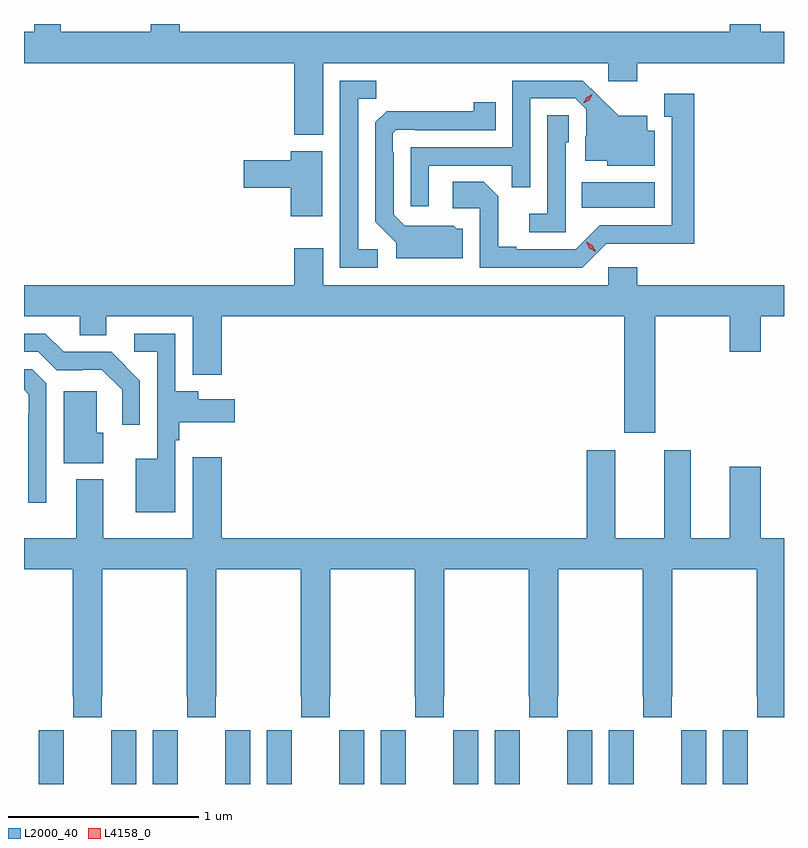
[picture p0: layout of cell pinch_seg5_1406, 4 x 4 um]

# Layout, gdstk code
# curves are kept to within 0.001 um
import gdstk
lib = gdstk.Library(unit=1e-6, precision=1e-09)
def R(c, l, rs):  # rectangles x0, y0, x1, y1
    for r in rs: c.add(gdstk.rectangle(r[:2], r[2:], *l))
def P(c, l, *ps):  # polygons
    for p in ps: c.add(gdstk.Polygon(p, *l))
L2000_40 = (2000, 40)
L4158_0 = (4158, 0)

pinch_seg5_1406 = lib.new_cell('pinch_seg5_1406')
R(pinch_seg5_1406, L2000_40, [(140.254,878.642,140.638,878.776)])
P(pinch_seg5_1406, L2000_40, [(138.892,879.404),(140.394,879.404),(140.394,879.309),(140.546,879.309),(140.546,879.404),(141.318,879.404),(141.318,879.568),(141.196,879.568),(141.196,879.61),(141.032,879.61),(141.032,879.568),(138.137,879.568),(138.137,879.61),(137.984,879.61),(137.984,879.568),(137.512,879.568),(137.512,879.61),(137.372,879.61),(137.372,879.568),(137.318,879.568),(137.318,879.404),(138.74,879.404),(138.74,879.026),(138.892,879.026)],
  [(139.18,878.424),(139.077,878.424),(139.077,879.217),(139.173,879.217),(139.173,879.312),(138.981,879.312),(138.981,878.328),(139.18,878.328)],
  [(139.449,878.865),(139.885,878.865),(139.885,878.752),(139.983,878.752),(139.983,879.219),(140.22,879.219),(140.277,879.162),(140.277,879.02),(140.273,879.02),(140.273,878.891),(140.388,878.891),(140.388,878.864),(140.638,878.864),(140.638,879.049),(140.599,879.049),(140.599,879.127),(140.447,879.127),(140.26,879.312),(139.887,879.312),(139.887,878.961),(139.353,878.961),(139.353,878.652),(139.449,878.652)],
  [(140.382,878.454),(140.845,878.453),(140.845,879.244),(140.687,879.244),(140.687,879.123),(140.726,879.123),(140.726,878.55),(140.349,878.55),(140.223,878.424),(139.909,878.424),(139.909,878.437),(139.815,878.437),(139.815,878.704),(139.739,878.78),(139.575,878.78),(139.575,878.64),(139.716,878.64),(139.716,878.328),(140.256,878.328)],
  [(139.627,878.532),(139.596,878.532),(139.58,878.548),(139.323,878.547),(139.263,878.607),(139.263,878.936),(139.26,878.936),(139.26,879.036),(139.278,879.054),(139.378,879.054),(139.378,879.051),(139.802,879.051),(139.802,879.199),(139.684,879.199),(139.684,879.152),(139.226,879.151),(139.167,879.092),(139.167,878.57),(139.277,878.46),(139.277,878.378),(139.627,878.378)],
  [(140.169,878.988),(140.184,878.988),(140.184,879.131),(140.073,879.131),(140.073,878.611),(139.977,878.611),(139.977,878.514),(140.169,878.514)],
  [(138.889,878.941),(138.722,878.941),(138.722,878.894),(138.474,878.894),(138.474,878.747),(138.722,878.747),(138.722,878.598),(138.889,878.598)],
  [(140.641,878.072),(141.032,878.072),(141.032,877.884),(141.196,877.884),(141.196,878.072),(141.318,878.072),(141.318,878.236),(140.546,878.236),(140.546,878.329),(140.394,878.329),(140.394,878.236),(138.892,878.236),(138.892,878.431),(138.74,878.431),(138.74,878.236),(137.318,878.236),(137.318,878.072),(137.612,878.072),(137.612,877.973),(137.752,877.973),(137.752,878.072),(138.206,878.072),(138.206,877.763),(138.359,877.763),(138.359,878.072),(140.477,878.072),(140.477,877.458),(140.641,877.458)],
  [(137.928,877.732),(137.778,877.884),(137.527,877.884),(137.431,877.98),(137.318,877.98),(137.318,877.884),(137.394,877.884),(137.49,877.788),(137.626,877.788),(137.626,877.79),(137.728,877.79),(137.834,877.685),(137.834,877.5),(137.928,877.5)],
  [(138.114,877.418),(138.134,877.418),(138.134,877.514),(138.427,877.514),(138.427,877.636),(138.235,877.636),(138.235,877.678),(138.114,877.678),(138.114,877.98),(137.898,877.98),(137.898,877.884),(138.018,877.884),(138.018,877.321),(137.906,877.321),(137.906,877.04),(138.114,877.04)],
  [(137.436,877.719),(137.361,877.794),(137.318,877.794),(137.318,877.685),(137.343,877.659),(137.343,877.559),(137.34,877.559),(137.34,877.089),(137.436,877.089)],
  [(137.734,877.459),(137.701,877.459),(137.701,877.677),(137.528,877.677),(137.528,877.298),(137.734,877.298)],
  [(137.318,876.74),(137.575,876.74),(137.575,876.073),(137.577,876.073),(137.577,875.961),(137.727,875.961),(137.727,876.073),(137.73,876.073),(137.73,876.74),(138.175,876.74),(138.175,876.073),(138.177,876.073),(138.177,875.961),(138.327,875.961),(138.327,876.073),(138.33,876.073),(138.33,876.74),(138.775,876.74),(138.775,876.073),(138.777,876.073),(138.777,875.961),(138.927,875.961),(138.927,876.073),(138.93,876.073),(138.93,876.74),(139.375,876.74),(139.375,876.073),(139.377,876.073),(139.377,875.961),(139.527,875.961),(139.527,876.073),(139.53,876.073),(139.53,876.74),(139.975,876.74),(139.975,876.073),(139.977,876.073),(139.977,875.961),(140.127,875.961),(140.127,876.073),(140.13,876.073),(140.13,876.74),(140.575,876.74),(140.575,876.073),(140.577,876.073),(140.577,875.961),(140.727,875.961),(140.727,876.073),(140.73,876.073),(140.73,876.74),(141.175,876.74),(141.175,876.073),(141.177,876.073),(141.177,875.961),(141.318,875.961),(141.318,876.904),(141.196,876.904),(141.196,877.279),(141.032,877.279),(141.032,876.904),(140.827,876.904),(140.827,877.366),(140.687,877.366),(140.687,876.904),(140.431,876.904),(140.431,877.366),(140.279,877.366),(140.279,876.904),(138.359,876.904),(138.359,877.33),(138.206,877.33),(138.206,876.904),(137.734,876.904),(137.734,877.213),(137.594,877.213),(137.594,876.904),(137.318,876.904)],
  [(139.927,875.78),(139.926,875.78),(139.926,875.893),(139.796,875.893),(139.796,875.61),(139.927,875.61)],
  [(141.127,875.78),(141.126,875.78),(141.126,875.893),(140.996,875.893),(140.996,875.61),(141.127,875.61)],
  [(138.508,875.893),(138.378,875.893),(138.378,875.78),(138.377,875.78),(138.377,875.61),(138.508,875.61)],
  [(140.527,875.78),(140.526,875.78),(140.526,875.893),(140.396,875.893),(140.396,875.61),(140.527,875.61)],
  [(140.308,875.893),(140.178,875.893),(140.178,875.78),(140.177,875.78),(140.177,875.61),(140.308,875.61)],
  [(137.527,875.78),(137.526,875.78),(137.526,875.893),(137.396,875.893),(137.396,875.61),(137.527,875.61)],
  [(139.708,875.893),(139.578,875.893),(139.578,875.78),(139.577,875.78),(139.577,875.61),(139.708,875.61)],
  [(139.327,875.78),(139.326,875.78),(139.326,875.893),(139.196,875.893),(139.196,875.61),(139.327,875.61)],
  [(139.108,875.893),(138.978,875.893),(138.978,875.78),(138.977,875.78),(138.977,875.61),(139.108,875.61)],
  [(138.727,875.78),(138.726,875.78),(138.726,875.893),(138.596,875.893),(138.596,875.61),(138.727,875.61)],
  [(140.908,875.893),(140.778,875.893),(140.778,875.78),(140.777,875.78),(140.777,875.61),(140.908,875.61)],
  [(138.127,875.78),(138.126,875.78),(138.126,875.893),(137.996,875.893),(137.996,875.61),(138.127,875.61)],
  [(137.908,875.893),(137.778,875.893),(137.778,875.78),(137.777,875.78),(137.777,875.61),(137.908,875.61)])
P(pinch_seg5_1406, L4158_0, [(140.326,878.412),(140.294,878.431),(140.276,878.464),(140.276,878.464),(140.276,878.464),(140.308,878.445),(140.326,878.413),(140.326,878.412)],
  [(140.262,879.194),(140.262,879.194),(140.279,879.224),(140.31,879.239),(140.31,879.239),(140.31,879.238),(140.293,879.209),(140.262,879.194)])

lib.write_gds('pinch_seg5_1406.gds')
